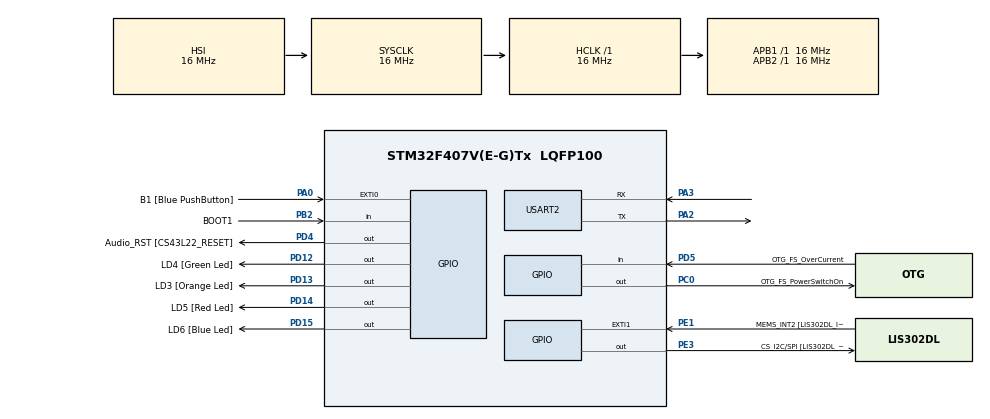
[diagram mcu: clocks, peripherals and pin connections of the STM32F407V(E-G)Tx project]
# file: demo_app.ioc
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Mcu.Family=STM32F4
Mcu.Name=STM32F407V(E-G)Tx
Mcu.Package=LQFP100
NVIC.PriorityGroup=NVIC_PRIORITYGROUP_0
NVIC.TIM2_IRQn=true\:0\:0\:false\:false\:true\:true\:true\:true
PA0-WKUP.GPIO_Label=B1 [Blue PushButton]
PA0-WKUP.Signal=GPXTI0
PA10.GPIO_Label=OTG_FS_ID
PA10.GPIO_Mode=GPIO_MODE_AF_PP
PA10.GPIO_PuPd=GPIO_NOPULL
PA10.GPIO_Speed=GPIO_SPEED_FREQ_LOW
PA10.Signal=USB_OTG_FS_ID
PA11.GPIO_Label=OTG_FS_DM
PA11.GPIO_Mode=GPIO_MODE_AF_PP
PA11.GPIO_PuPd=GPIO_NOPULL
PA11.GPIO_Speed=GPIO_SPEED_FREQ_LOW
PA11.Signal=USB_OTG_FS_DM
PA12.GPIO_Label=OTG_FS_DP
PA12.GPIO_Mode=GPIO_MODE_AF_PP
PA12.GPIO_PuPd=GPIO_NOPULL
PA12.GPIO_Speed=GPIO_SPEED_FREQ_LOW
PA12.Signal=USB_OTG_FS_DP
PA13.GPIO_Label=SWDIO
PA13.Mode=Serial_Wire
PA13.Signal=SYS_JTMS-SWDIO
PA14.GPIO_Label=SWCLK
PA14.Mode=Serial_Wire
PA14.Signal=SYS_JTCK-SWCLK
PA2.Mode=Asynchronous
PA2.Signal=USART2_TX
PA3.Mode=Asynchronous
PA3.Signal=USART2_RX
PA4.GPIO_Label=I2S3_WS [CS43L22_LRCK]
PA4.GPIO_Mode=GPIO_MODE_AF_PP
PA4.GPIO_PuPd=GPIO_NOPULL
PA4.GPIO_Speed=GPIO_SPEED_FREQ_LOW
PA4.Signal=I2S3_WS
PA5.GPIO_Label=SPI1_SCK [LIS302DL_SCL/SPC]
PA5.GPIO_Mode=GPIO_MODE_AF_PP
PA5.GPIO_PuPd=GPIO_NOPULL
PA5.GPIO_Speed=GPIO_SPEED_FREQ_LOW
PA5.Signal=SPI1_SCK
PA6.GPIO_Label=SPI1_MISO [LIS302DL_SDO]
PA6.GPIO_Mode=GPIO_MODE_AF_PP
PA6.GPIO_PuPd=GPIO_NOPULL
PA6.GPIO_Speed=GPIO_SPEED_FREQ_LOW
PA6.Signal=SPI1_MISO
PA7.GPIO_Label=SPI1_MOSI [LIS302DL_SDA/SDI/SDO]
PA7.GPIO_Mode=GPIO_MODE_AF_PP
PA7.GPIO_PuPd=GPIO_NOPULL
PA7.GPIO_Speed=GPIO_SPEED_FREQ_LOW
PA7.Signal=SPI1_MOSI
PA9.GPIO_Label=VBUS_FS
PA9.GPIO_Mode=GPIO_MODE_INPUT
PA9.GPIO_PuPd=GPIO_NOPULL
PA9.Signal=USB_OTG_FS_VBUS
PB10.GPIO_Label=CLK_IN [MP45DT02_CLK]
PB10.GPIO_Mode=GPIO_MODE_AF_PP
PB10.GPIO_PuPd=GPIO_NOPULL
PB10.GPIO_Speed=GPIO_SPEED_FREQ_LOW
PB10.Signal=I2S2_CK
PB2.GPIO_Label=BOOT1
PB2.GPIO_Mode=GPIO_MODE_INPUT
PB2.GPIO_PuPd=GPIO_NOPULL
PB2.Signal=GPIO_Input
PB3.GPIO_Label=SWO
PB3.Signal=SYS_JTDO-SWO
PB6.GPIO_Label=Audio_SCL [CS43L22_SCL]
PB6.GPIO_Mode=GPIO_MODE_AF_OD
PB6.GPIO_PuPd=GPIO_NOPULL
PB6.GPIO_Speed=GPIO_SPEED_FREQ_LOW
PB6.Signal=I2C1_SCL
PB9.GPIO_Label=Audio_SDA [CS43L22_SDA]
PB9.GPIO_Mode=GPIO_MODE_AF_OD
PB9.GPIO_PuPd=GPIO_NOPULL
PB9.GPIO_Speed=GPIO_SPEED_FREQ_LOW
PB9.Signal=I2C1_SDA
PC0.GPIO_Label=OTG_FS_PowerSwitchOn
PC0.GPIO_PuPd=GPIO_NOPULL
PC0.GPIO_Speed=GPIO_SPEED_FREQ_LOW
PC0.PinState=GPIO_PIN_SET
PC0.Signal=GPIO_Output
PC10.GPIO_Label=I2S3_SCK [CS43L22_SCLK]
PC10.GPIO_Mode=GPIO_MODE_AF_PP
PC10.GPIO_PuPd=GPIO_NOPULL
PC10.GPIO_Speed=GPIO_SPEED_FREQ_LOW
PC10.Signal=I2S3_CK
PC12.GPIO_Label=I2S3_SD [CS43L22_SDIN]
PC12.GPIO_Mode=GPIO_MODE_AF_PP
PC12.GPIO_PuPd=GPIO_NOPULL
PC12.GPIO_Speed=GPIO_SPEED_FREQ_LOW
PC12.Signal=I2S3_SD
PC14-OSC32_IN.GPIO_Label=PC14-OSC32_IN
PC14-OSC32_IN.Signal=RCC_OSC32_IN
PC15-OSC32_OUT.GPIO_Label=PC15-OSC32_OUT
PC15-OSC32_OUT.Signal=RCC_OSC32_OUT
PC3.GPIO_Label=PDM_OUT [MP45DT02_DOUT]
PC3.GPIO_Mode=GPIO_MODE_AF_PP
PC3.GPIO_PuPd=GPIO_NOPULL
PC3.GPIO_Speed=GPIO_SPEED_FREQ_LOW
PC3.Signal=I2S2_SD
PC7.GPIO_Label=I2S3_MCK [CS43L22_MCLK]
PC7.GPIO_Mode=GPIO_MODE_AF_PP
PC7.GPIO_PuPd=GPIO_NOPULL
PC7.GPIO_Speed=GPIO_SPEED_FREQ_LOW
PC7.Signal=I2S3_MCK
PD12.GPIO_Label=LD4 [Green Led]
PD12.GPIO_PuPd=GPIO_NOPULL
PD12.GPIO_Speed=GPIO_SPEED_FREQ_LOW
PD12.Signal=GPIO_Output
PD13.GPIO_Label=LD3 [Orange Led]
PD13.GPIO_PuPd=GPIO_NOPULL
PD13.GPIO_Speed=GPIO_SPEED_FREQ_LOW
PD13.Signal=GPIO_Output
PD14.GPIO_Label=LD5 [Red Led]
PD14.GPIO_PuPd=GPIO_NOPULL
PD14.GPIO_Speed=GPIO_SPEED_FREQ_LOW
PD14.Signal=GPIO_Output
PD15.GPIO_Label=LD6 [Blue Led]
PD15.GPIO_PuPd=GPIO_NOPULL
PD15.GPIO_Speed=GPIO_SPEED_FREQ_LOW
PD15.Signal=GPIO_Output
PD4.GPIO_Label=Audio_RST [CS43L22_RESET]
PD4.GPIO_PuPd=GPIO_NOPULL
PD4.GPIO_Speed=GPIO_SPEED_FREQ_LOW
PD4.Signal=GPIO_Output
PD5.GPIO_Label=OTG_FS_OverCurrent
PD5.GPIO_Mode=GPIO_MODE_INPUT
PD5.GPIO_PuPd=GPIO_NOPULL
PD5.Signal=GPIO_Input
PE1.GPIO_Label=MEMS_INT2 [LIS302DL_INT2]
PE1.GPIO_ModeDefaultEXTI=GPIO_MODE_EVT_RISING
PE1.GPIO_PuPd=GPIO_NOPULL
PE1.Signal=GPXTI1
PE3.GPIO_Label=CS_I2C/SPI [LIS302DL_CS_I2C/SPI]
PE3.GPIO_PuPd=GPIO_NOPULL
PE3.GPIO_Speed=GPIO_SPEED_FREQ_LOW
PE3.Signal=GPIO_Output
PH0-OSC_IN.GPIO_Label=PH0-OSC_IN
PH0-OSC_IN.Signal=RCC_OSC_IN
PH1-OSC_OUT.GPIO_Label=PH1-OSC_OUT
PH1-OSC_OUT.Signal=RCC_OSC_OUT
ProjectManager.HeapSize=0x200
ProjectManager.StackSize=0x400
ProjectManager.TargetToolchain=STM32CubeIDE
RCC.48MHZClocksFreq_Value=14285714.285714285
RCC.AHBFreq_Value=16000000
RCC.APB1Freq_Value=16000000
RCC.APB1TimFreq_Value=16000000
RCC.APB2Freq_Value=16000000
RCC.APB2TimFreq_Value=16000000
RCC.CortexFreq_Value=16000000
RCC.HCLKFreq_Value=16000000
RCC.HSE_VALUE=8000000
RCC.HSI_VALUE=16000000
RCC.LSE_VALUE=32768
RCC.PLLM=8
RCC.PLLN=50
RCC.PLLP=RCC_PLLP_DIV4
RCC.PLLQ=7
RCC.SYSCLKFreq_VALUE=16000000
RCC.VCOOutputFreq_Value=100000000
TIM2.Period=499
TIM2.Prescaler=15999
USART2.VirtualMode=VM_ASYNC
VP_TIM2_VS_ClockSourceINT.Mode=Internal
board=STM32F407G-DISC1

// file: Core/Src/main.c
/* USER CODE BEGIN Header */
/**
  ******************************************************************************
  * @file           : main.c
  * @brief          : Main program body
  ******************************************************************************
  * @attention
  *
  * Copyright (c) 2026 STMicroelectronics.
  * All rights reserved.
  *
  * This software is licensed under terms that can be found in the LICENSE file
  * in the root directory of this software component.
  * If no LICENSE file comes with this software, it is provided AS-IS.
  *
  ******************************************************************************
  */
/* USER CODE END Header */
#include "main.h"

TIM_HandleTypeDef htim2;

UART_HandleTypeDef huart2;

/* USER CODE BEGIN PV */
static volatile uint32_t tim2_irq_count = 0U;
static uint8_t app_message[] = "APP 1.0.0 | running\r\n";
/* USER CODE END PV */

void SystemClock_Config(void);
static void MX_GPIO_Init(void);
static void MX_USART2_UART_Init(void);
static void MX_TIM2_Init(void);

int main(void)
{

  /* USER CODE BEGIN 1 */
  /* SystemInit already installed this application's VTOR.
   * Bootloader transfers control with SysTick and NVIC IRQs disabled.
   * Restore global IRQ delivery before HAL_Init starts the HAL time base.
   */
  __enable_irq();
  /* USER CODE END 1 */

  /* MCU Configuration--------------------------------------------------------*/

  /* Reset of all peripherals, Initializes the Flash interface and the Systick. */
  HAL_Init();

  /* Configure the system clock */
  SystemClock_Config();

  /* Initialize all configured peripherals */
  MX_GPIO_Init();
  MX_USART2_UART_Init();
  MX_TIM2_Init();
  /* USER CODE BEGIN 2 */
  /* Start the application with both status LEDs off. */
  HAL_GPIO_WritePin(LD4_GPIO_Port, LD4_Pin, GPIO_PIN_RESET);
  HAL_GPIO_WritePin(LD5_GPIO_Port, LD5_Pin, GPIO_PIN_RESET);

  /* Remove any update flag left by initialization before enabling interrupts. */
  tim2_irq_count = 0U;
  __HAL_TIM_SET_COUNTER(&htim2, 0U);
  __HAL_TIM_CLEAR_FLAG(&htim2, TIM_FLAG_UPDATE);

  if (HAL_TIM_Base_Start_IT(&htim2) != HAL_OK)
  {
    Error_Handler();
  }
  /* USER CODE END 2 */

  /* Infinite loop */
  while (1)
  {

    /* USER CODE BEGIN 3 */
    if (HAL_UART_Transmit(&huart2,
                          app_message,
                          (uint16_t)(sizeof(app_message) - 1U),
                          100U) != HAL_OK)
    {
      Error_Handler();
    }

    HAL_Delay(1000U);
  }
  /* USER CODE END 3 */
}

void SystemClock_Config(void)
{
  RCC_OscInitTypeDef RCC_OscInitStruct = {0};
  RCC_ClkInitTypeDef RCC_ClkInitStruct = {0};

  /** Configure the main internal regulator output voltage
  */
  __HAL_RCC_PWR_CLK_ENABLE();
  __HAL_PWR_VOLTAGESCALING_CONFIG(PWR_REGULATOR_VOLTAGE_SCALE1);

  /** Initializes the RCC Oscillators according to the specified parameters
  * in the RCC_OscInitTypeDef structure.
  */
  RCC_OscInitStruct.OscillatorType = RCC_OSCILLATORTYPE_HSI;
  RCC_OscInitStruct.HSIState = RCC_HSI_ON;
  RCC_OscInitStruct.HSICalibrationValue = RCC_HSICALIBRATION_DEFAULT;
  RCC_OscInitStruct.PLL.PLLState = RCC_PLL_NONE;
  if (HAL_RCC_OscConfig(&RCC_OscInitStruct) != HAL_OK)
  {
    Error_Handler();
  }

  /** Initializes the CPU, AHB and APB buses clocks
  */
  RCC_ClkInitStruct.ClockType = RCC_CLOCKTYPE_HCLK|RCC_CLOCKTYPE_SYSCLK
                              |RCC_CLOCKTYPE_PCLK1|RCC_CLOCKTYPE_PCLK2;
  RCC_ClkInitStruct.SYSCLKSource = RCC_SYSCLKSOURCE_HSI;
  RCC_ClkInitStruct.AHBCLKDivider = RCC_SYSCLK_DIV1;
  RCC_ClkInitStruct.APB1CLKDivider = RCC_HCLK_DIV1;
  RCC_ClkInitStruct.APB2CLKDivider = RCC_HCLK_DIV1;

  if (HAL_RCC_ClockConfig(&RCC_ClkInitStruct, FLASH_LATENCY_0) != HAL_OK)
  {
    Error_Handler();
  }
}

static void MX_TIM2_Init(void)
{

  TIM_ClockConfigTypeDef sClockSourceConfig = {0};
  TIM_MasterConfigTypeDef sMasterConfig = {0};

  htim2.Instance = TIM2;
  htim2.Init.Prescaler = 15999;
  htim2.Init.CounterMode = TIM_COUNTERMODE_UP;
  htim2.Init.Period = 499;
  htim2.Init.ClockDivision = TIM_CLOCKDIVISION_DIV1;
  htim2.Init.AutoReloadPreload = TIM_AUTORELOAD_PRELOAD_DISABLE;
  if (HAL_TIM_Base_Init(&htim2) != HAL_OK)
  {
    Error_Handler();
  }
  sClockSourceConfig.ClockSource = TIM_CLOCKSOURCE_INTERNAL;
  if (HAL_TIM_ConfigClockSource(&htim2, &sClockSourceConfig) != HAL_OK)
  {
    Error_Handler();
  }
  sMasterConfig.MasterOutputTrigger = TIM_TRGO_RESET;
  sMasterConfig.MasterSlaveMode = TIM_MASTERSLAVEMODE_DISABLE;
  if (HAL_TIMEx_MasterConfigSynchronization(&htim2, &sMasterConfig) != HAL_OK)
  {
    Error_Handler();
  }

}

static void MX_USART2_UART_Init(void)
{

  huart2.Instance = USART2;
  huart2.Init.BaudRate = 115200;
  huart2.Init.WordLength = UART_WORDLENGTH_8B;
  huart2.Init.StopBits = UART_STOPBITS_1;
  huart2.Init.Parity = UART_PARITY_NONE;
  huart2.Init.Mode = UART_MODE_TX_RX;
  huart2.Init.HwFlowCtl = UART_HWCONTROL_NONE;
  huart2.Init.OverSampling = UART_OVERSAMPLING_16;
  if (HAL_UART_Init(&huart2) != HAL_OK)
  {
    Error_Handler();
  }

}

static void MX_GPIO_Init(void)
{
  GPIO_InitTypeDef GPIO_InitStruct = {0};

  /* GPIO Ports Clock Enable */
  __HAL_RCC_GPIOE_CLK_ENABLE();
  __HAL_RCC_GPIOC_CLK_ENABLE();
  __HAL_RCC_GPIOH_CLK_ENABLE();
  __HAL_RCC_GPIOA_CLK_ENABLE();
  __HAL_RCC_GPIOB_CLK_ENABLE();
  __HAL_RCC_GPIOD_CLK_ENABLE();

  /*Configure GPIO pin Output Level */
  HAL_GPIO_WritePin(CS_I2C_SPI_GPIO_Port, CS_I2C_SPI_Pin, GPIO_PIN_RESET);

  /*Configure GPIO pin Output Level */
  HAL_GPIO_WritePin(OTG_FS_PowerSwitchOn_GPIO_Port, OTG_FS_PowerSwitchOn_Pin, GPIO_PIN_SET);

  /*Configure GPIO pin Output Level */
  HAL_GPIO_WritePin(GPIOD, LD4_Pin|LD3_Pin|LD5_Pin|LD6_Pin
                          |Audio_RST_Pin, GPIO_PIN_RESET);

  /*Configure GPIO pin : CS_I2C_SPI_Pin */
  GPIO_InitStruct.Pin = CS_I2C_SPI_Pin;
  GPIO_InitStruct.Mode = GPIO_MODE_OUTPUT_PP;
  GPIO_InitStruct.Pull = GPIO_NOPULL;
  GPIO_InitStruct.Speed = GPIO_SPEED_FREQ_LOW;
  HAL_GPIO_Init(CS_I2C_SPI_GPIO_Port, &GPIO_InitStruct);

  /*Configure GPIO pin : OTG_FS_PowerSwitchOn_Pin */
  GPIO_InitStruct.Pin = OTG_FS_PowerSwitchOn_Pin;
  GPIO_InitStruct.Mode = GPIO_MODE_OUTPUT_PP;
  GPIO_InitStruct.Pull = GPIO_NOPULL;
  GPIO_InitStruct.Speed = GPIO_SPEED_FREQ_LOW;
  HAL_GPIO_Init(OTG_FS_PowerSwitchOn_GPIO_Port, &GPIO_InitStruct);

  /*Configure GPIO pin : PDM_OUT_Pin */
  GPIO_InitStruct.Pin = PDM_OUT_Pin;
  GPIO_InitStruct.Mode = GPIO_MODE_AF_PP;
  GPIO_InitStruct.Pull = GPIO_NOPULL;
  GPIO_InitStruct.Speed = GPIO_SPEED_FREQ_LOW;
  GPIO_InitStruct.Alternate = GPIO_AF5_SPI2;
  HAL_GPIO_Init(PDM_OUT_GPIO_Port, &GPIO_InitStruct);

  /*Configure GPIO pin : B1_Pin */
  GPIO_InitStruct.Pin = B1_Pin;
  GPIO_InitStruct.Mode = GPIO_MODE_IT_RISING;
  GPIO_InitStruct.Pull = GPIO_NOPULL;
  HAL_GPIO_Init(B1_GPIO_Port, &GPIO_InitStruct);

  /*Configure GPIO pin : I2S3_WS_Pin */
  GPIO_InitStruct.Pin = I2S3_WS_Pin;
  GPIO_InitStruct.Mode = GPIO_MODE_AF_PP;
  GPIO_InitStruct.Pull = GPIO_NOPULL;
  GPIO_InitStruct.Speed = GPIO_SPEED_FREQ_LOW;
  GPIO_InitStruct.Alternate = GPIO_AF6_SPI3;
  HAL_GPIO_Init(I2S3_WS_GPIO_Port, &GPIO_InitStruct);

  /*Configure GPIO pins : SPI1_SCK_Pin SPI1_MISO_Pin SPI1_MOSI_Pin */
  GPIO_InitStruct.Pin = SPI1_SCK_Pin|SPI1_MISO_Pin|SPI1_MOSI_Pin;
  GPIO_InitStruct.Mode = GPIO_MODE_AF_PP;
  GPIO_InitStruct.Pull = GPIO_NOPULL;
  GPIO_InitStruct.Speed = GPIO_SPEED_FREQ_LOW;
  GPIO_InitStruct.Alternate = GPIO_AF5_SPI1;
  HAL_GPIO_Init(GPIOA, &GPIO_InitStruct);

  /*Configure GPIO pin : BOOT1_Pin */
  GPIO_InitStruct.Pin = BOOT1_Pin;
  GPIO_InitStruct.Mode = GPIO_MODE_INPUT;
  GPIO_InitStruct.Pull = GPIO_NOPULL;
  HAL_GPIO_Init(BOOT1_GPIO_Port, &GPIO_InitStruct);

  /*Configure GPIO pin : CLK_IN_Pin */
  GPIO_InitStruct.Pin = CLK_IN_Pin;
  GPIO_InitStruct.Mode = GPIO_MODE_AF_PP;
  GPIO_InitStruct.Pull = GPIO_NOPULL;
  GPIO_InitStruct.Speed = GPIO_SPEED_FREQ_LOW;
  GPIO_InitStruct.Alternate = GPIO_AF5_SPI2;
  HAL_GPIO_Init(CLK_IN_GPIO_Port, &GPIO_InitStruct);

  /*Configure GPIO pins : LD4_Pin LD3_Pin LD5_Pin LD6_Pin
                           Audio_RST_Pin */
  GPIO_InitStruct.Pin = LD4_Pin|LD3_Pin|LD5_Pin|LD6_Pin
                          |Audio_RST_Pin;
  GPIO_InitStruct.Mode = GPIO_MODE_OUTPUT_PP;
  GPIO_InitStruct.Pull = GPIO_NOPULL;
  GPIO_InitStruct.Speed = GPIO_SPEED_FREQ_LOW;
  HAL_GPIO_Init(GPIOD, &GPIO_InitStruct);

  /*Configure GPIO pins : I2S3_MCK_Pin I2S3_SCK_Pin I2S3_SD_Pin */
  GPIO_InitStruct.Pin = I2S3_MCK_Pin|I2S3_SCK_Pin|I2S3_SD_Pin;
  GPIO_InitStruct.Mode = GPIO_MODE_AF_PP;
  GPIO_InitStruct.Pull = GPIO_NOPULL;
  GPIO_InitStruct.Speed = GPIO_SPEED_FREQ_LOW;
  GPIO_InitStruct.Alternate = GPIO_AF6_SPI3;
  HAL_GPIO_Init(GPIOC, &GPIO_InitStruct);

  /*Configure GPIO pin : VBUS_FS_Pin */
  GPIO_InitStruct.Pin = VBUS_FS_Pin;
  GPIO_InitStruct.Mode = GPIO_MODE_INPUT;
  GPIO_InitStruct.Pull = GPIO_NOPULL;
  HAL_GPIO_Init(VBUS_FS_GPIO_Port, &GPIO_InitStruct);

  /*Configure GPIO pins : OTG_FS_ID_Pin OTG_FS_DM_Pin OTG_FS_DP_Pin */
  GPIO_InitStruct.Pin = OTG_FS_ID_Pin|OTG_FS_DM_Pin|OTG_FS_DP_Pin;
  GPIO_InitStruct.Mode = GPIO_MODE_AF_PP;
  GPIO_InitStruct.Pull = GPIO_NOPULL;
  GPIO_InitStruct.Speed = GPIO_SPEED_FREQ_LOW;
  GPIO_InitStruct.Alternate = GPIO_AF10_OTG_FS;
  HAL_GPIO_Init(GPIOA, &GPIO_InitStruct);

  /*Configure GPIO pin : OTG_FS_OverCurrent_Pin */
  GPIO_InitStruct.Pin = OTG_FS_OverCurrent_Pin;
  GPIO_InitStruct.Mode = GPIO_MODE_INPUT;
  GPIO_InitStruct.Pull = GPIO_NOPULL;
  HAL_GPIO_Init(OTG_FS_OverCurrent_GPIO_Port, &GPIO_InitStruct);

  /*Configure GPIO pins : Audio_SCL_Pin Audio_SDA_Pin */
  GPIO_InitStruct.Pin = Audio_SCL_Pin|Audio_SDA_Pin;
  GPIO_InitStruct.Mode = GPIO_MODE_AF_OD;
  GPIO_InitStruct.Pull = GPIO_NOPULL;
  GPIO_InitStruct.Speed = GPIO_SPEED_FREQ_LOW;
  GPIO_InitStruct.Alternate = GPIO_AF4_I2C1;
  HAL_GPIO_Init(GPIOB, &GPIO_InitStruct);

  /*Configure GPIO pin : MEMS_INT2_Pin */
  GPIO_InitStruct.Pin = MEMS_INT2_Pin;
  GPIO_InitStruct.Mode = GPIO_MODE_EVT_RISING;
  GPIO_InitStruct.Pull = GPIO_NOPULL;
  HAL_GPIO_Init(MEMS_INT2_GPIO_Port, &GPIO_InitStruct);

}

/* USER CODE BEGIN 4 */
void HAL_TIM_PeriodElapsedCallback(TIM_HandleTypeDef *htim)
{
  if (htim->Instance == TIM2)
  {
    tim2_irq_count++;
    HAL_GPIO_TogglePin(LD4_GPIO_Port, LD4_Pin);
  }
}
/* USER CODE END 4 */

void Error_Handler(void)
{
  __disable_irq();
  while (1)
  {
  }
}
